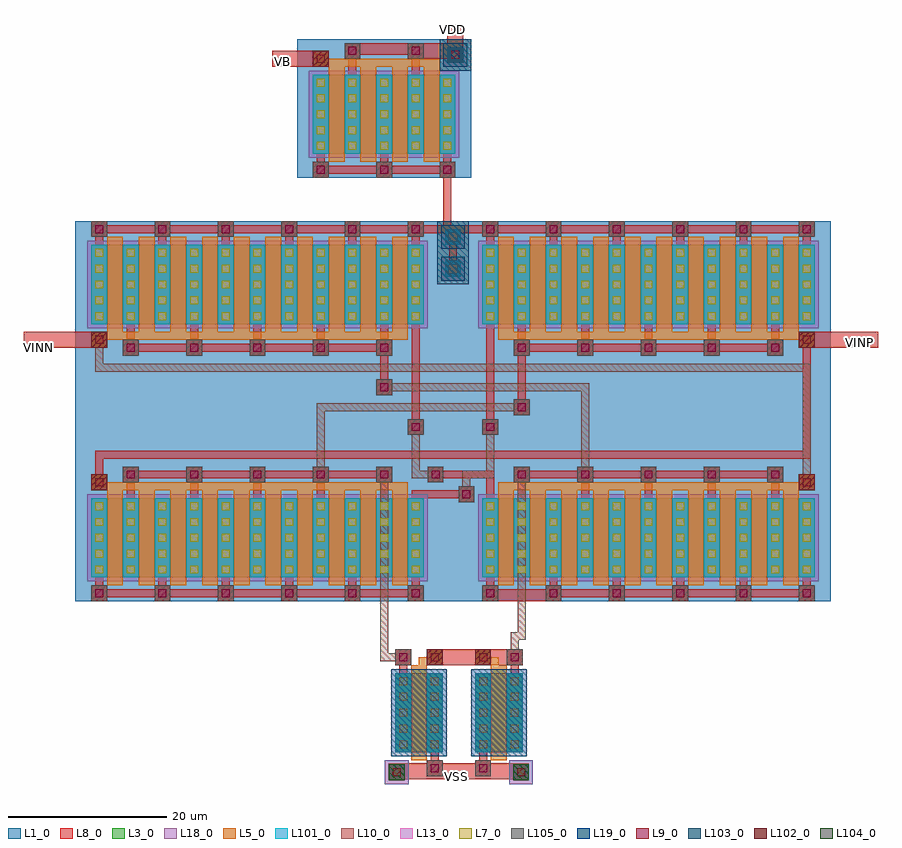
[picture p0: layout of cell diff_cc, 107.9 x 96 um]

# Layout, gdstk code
from math import pi, radians
import gdstk
lib = gdstk.Library(unit=1e-6, precision=1e-07)
def R(c, l, rs):  # rectangles x0, y0, x1, y1
    for r in rs: c.add(gdstk.rectangle(r[:2], r[2:], *l))
L1_0 = (1, 0)
L3_0 = (3, 0)
L5_0 = (5, 0)
L7_0 = (7, 0)
L8_0 = (8, 0)
L9_0 = (9, 0)
L10_0 = (10, 0)
L13_0 = (13, 0)
L18_0 = (18, 0)
L19_0 = (19, 0)
L101_0 = (101, 0)
L102_0 = (102, 0)
L103_0 = (103, 0)
L104_0 = (104, 0)
L105_0 = (105, 0)

dcont = lib.new_cell('dcont')
R(dcont, L3_0, [(-1,-1,1,1)])
R(dcont, L7_0, [(-0.5,-0.5,0.5,0.5)])
R(dcont, L8_0, [(-1,-1,1,1)])
R(dcont, L13_0, [(-0.5,-0.5,0.5,0.5)])
R(dcont, L101_0, [(-1,-1,1,1)])

pcont = lib.new_cell('pcont')
R(pcont, L5_0, [(-1,-1,1,1)])
R(pcont, L7_0, [(-0.5,-0.5,0.5,0.5)])
R(pcont, L8_0, [(-1,-1,1,1)])
R(pcont, L13_0, [(-0.5,-0.5,0.5,0.5)])
R(pcont, L102_0, [(-1,-1,1,1)])

via = lib.new_cell('Via')
R(via, L8_0, [(-1,-1,1,1)])
R(via, L9_0, [(-0.5,-0.5,0.5,0.5)])
R(via, L10_0, [(-1,-1,1,1)])
R(via, L13_0, [(-0.5,-0.5,0.5,0.5)])
R(via, L105_0, [(-1,-1,1,1)])

dcont1 = lib.new_cell('dcont1')
R(dcont1, L3_0, [(-1,-1,1,1)])
R(dcont1, L7_0, [(-0.5,-0.5,0.5,0.5)])
R(dcont1, L8_0, [(-1,-1,1,1)])
R(dcont1, L13_0, [(-0.5,-0.5,0.5,0.5)])
R(dcont1, L101_0, [(-1,-1,1,1)])

nsubcont = lib.new_cell('nsubcont')
R(nsubcont, L1_0, [(-2,-2,2,2)])
R(nsubcont, L19_0, [(-1.5,-1.5,1.5,1.5)])
R(nsubcont, L103_0, [(-2,-2,2,2)])
nsubcont.add(gdstk.Reference(dcont1, (0,0)))

pch_2 = lib.new_cell('Pch$2')
R(pch_2, L1_0, [(-2,-1.5,20,16)])
R(pch_2, L3_0, [(0,3,18,13)])
R(pch_2, L18_0, [(-0.5,2.5,18.5,13.5)])
pch_2.add(gdstk.FlexPath([(1,3),(1,13)], 2, ends="flush", simple_path=True, layer=8, datatype=0))  # L8_0
pch_2.add(gdstk.FlexPath([(5,3),(5,13)], 2, ends="flush", simple_path=True, layer=8, datatype=0))  # L8_0
pch_2.add(gdstk.FlexPath([(9,3),(9,13)], 2, ends="flush", simple_path=True, layer=8, datatype=0))  # L8_0
pch_2.add(gdstk.FlexPath([(13,3),(13,13)], 2, ends="flush", simple_path=True, layer=8, datatype=0))  # L8_0
pch_2.add(gdstk.FlexPath([(17,3),(17,13)], 2, ends="flush", simple_path=True, layer=8, datatype=0))  # L8_0
pch_2.add(gdstk.FlexPath([(1,12),(1,15)], 1, ends="flush", simple_path=True, layer=8, datatype=0))  # L8_0
pch_2.add(gdstk.FlexPath([(5,0),(5,4)], 1, ends="flush", simple_path=True, layer=8, datatype=0))  # L8_0
pch_2.add(gdstk.FlexPath([(9,12),(9,15)], 1, ends="flush", simple_path=True, layer=8, datatype=0))  # L8_0
pch_2.add(gdstk.FlexPath([(1,15),(9,15)], 1, ends="extended", simple_path=True, layer=8, datatype=0))  # L8_0
pch_2.add(gdstk.FlexPath([(13,0),(13,4)], 1, ends="flush", simple_path=True, layer=8, datatype=0))  # L8_0
pch_2.add(gdstk.FlexPath([(5,0),(13,0)], 1, ends="extended", simple_path=True, layer=8, datatype=0))  # L8_0
pch_2.add(gdstk.FlexPath([(17,12),(17,15)], 1, ends="flush", simple_path=True, layer=8, datatype=0))  # L8_0
pch_2.add(gdstk.FlexPath([(9,15),(17,15)], 1, ends="extended", simple_path=True, layer=8, datatype=0))  # L8_0
pch_2.add(gdstk.FlexPath([(3,3),(3,13)], 2, ends="extended", simple_path=True, layer=5, datatype=0))  # L5_0
pch_2.add(gdstk.FlexPath([(7,3),(7,13)], 2, ends="extended", simple_path=True, layer=5, datatype=0))  # L5_0
pch_2.add(gdstk.FlexPath([(11,3),(11,13)], 2, ends="extended", simple_path=True, layer=5, datatype=0))  # L5_0
pch_2.add(gdstk.FlexPath([(15,3),(15,13)], 2, ends="extended", simple_path=True, layer=5, datatype=0))  # L5_0
pch_2.add(gdstk.FlexPath([(1,1.5),(2.5,1.5),(2.5,2)], 1, ends="flush", simple_path=True, layer=5, datatype=0))  # L5_0
pch_2.add(gdstk.FlexPath([(2,1.5),(8,1.5)], 1, ends="flush", simple_path=True, layer=5, datatype=0))  # L5_0
pch_2.add(gdstk.FlexPath([(6,1.5),(12,1.5)], 1, ends="flush", simple_path=True, layer=5, datatype=0))  # L5_0
pch_2.add(gdstk.FlexPath([(10,1.5),(16,1.5)], 1, ends="flush", simple_path=True, layer=5, datatype=0))  # L5_0
pch_2.add(gdstk.Reference(dcont, (1,4)))
pch_2.add(gdstk.Reference(dcont, (1,6)))
pch_2.add(gdstk.Reference(dcont, (1,8)))
pch_2.add(gdstk.Reference(dcont, (1,10)))
pch_2.add(gdstk.Reference(dcont, (1,12)))
pch_2.add(gdstk.Reference(dcont, (5,4)))
pch_2.add(gdstk.Reference(dcont, (5,6)))
pch_2.add(gdstk.Reference(dcont, (5,8)))
pch_2.add(gdstk.Reference(dcont, (5,10)))
pch_2.add(gdstk.Reference(dcont, (5,12)))
pch_2.add(gdstk.Reference(dcont, (9,4)))
pch_2.add(gdstk.Reference(dcont, (9,6)))
pch_2.add(gdstk.Reference(dcont, (9,8)))
pch_2.add(gdstk.Reference(dcont, (9,10)))
pch_2.add(gdstk.Reference(dcont, (9,12)))
pch_2.add(gdstk.Reference(dcont, (13,4)))
pch_2.add(gdstk.Reference(dcont, (13,6)))
pch_2.add(gdstk.Reference(dcont, (13,8)))
pch_2.add(gdstk.Reference(dcont, (13,10)))
pch_2.add(gdstk.Reference(dcont, (13,12)))
pch_2.add(gdstk.Reference(dcont, (17,4)))
pch_2.add(gdstk.Reference(dcont, (17,6)))
pch_2.add(gdstk.Reference(dcont, (17,8)))
pch_2.add(gdstk.Reference(dcont, (17,10)))
pch_2.add(gdstk.Reference(dcont, (17,12)))
pch_2.add(gdstk.Reference(pcont, (1,1)))
pch_2.add(gdstk.Reference(via, (1,1)))
pch_2.add(gdstk.Reference(via, (1,15)))
pch_2.add(gdstk.Reference(via, (5,0)))
pch_2.add(gdstk.Reference(via, (9,15)))
pch_2.add(gdstk.Reference(via, (13,0)))
pch_2.add(gdstk.Reference(via, (17,15)))
pch_2.add(gdstk.Reference(nsubcont, (18,0.5)))
pch_2.add(gdstk.Reference(via, (18,0.5)))

pch_3 = lib.new_cell('Pch$3')
R(pch_3, L1_0, [(-2,-1.5,44,16)])
R(pch_3, L3_0, [(0,3,42,13)])
R(pch_3, L18_0, [(-0.5,2.5,42.5,13.5)])
pch_3.add(gdstk.FlexPath([(1,3),(1,13)], 2, ends="flush", simple_path=True, layer=8, datatype=0))  # L8_0
pch_3.add(gdstk.FlexPath([(5,3),(5,13)], 2, ends="flush", simple_path=True, layer=8, datatype=0))  # L8_0
pch_3.add(gdstk.FlexPath([(9,3),(9,13)], 2, ends="flush", simple_path=True, layer=8, datatype=0))  # L8_0
pch_3.add(gdstk.FlexPath([(13,3),(13,13)], 2, ends="flush", simple_path=True, layer=8, datatype=0))  # L8_0
pch_3.add(gdstk.FlexPath([(17,3),(17,13)], 2, ends="flush", simple_path=True, layer=8, datatype=0))  # L8_0
pch_3.add(gdstk.FlexPath([(21,3),(21,13)], 2, ends="flush", simple_path=True, layer=8, datatype=0))  # L8_0
pch_3.add(gdstk.FlexPath([(25,3),(25,13)], 2, ends="flush", simple_path=True, layer=8, datatype=0))  # L8_0
pch_3.add(gdstk.FlexPath([(29,3),(29,13)], 2, ends="flush", simple_path=True, layer=8, datatype=0))  # L8_0
pch_3.add(gdstk.FlexPath([(33,3),(33,13)], 2, ends="flush", simple_path=True, layer=8, datatype=0))  # L8_0
pch_3.add(gdstk.FlexPath([(37,3),(37,13)], 2, ends="flush", simple_path=True, layer=8, datatype=0))  # L8_0
pch_3.add(gdstk.FlexPath([(41,3),(41,13)], 2, ends="flush", simple_path=True, layer=8, datatype=0))  # L8_0
pch_3.add(gdstk.FlexPath([(1,12),(1,15)], 1, ends="flush", simple_path=True, layer=8, datatype=0))  # L8_0
pch_3.add(gdstk.FlexPath([(5,0),(5,4)], 1, ends="flush", simple_path=True, layer=8, datatype=0))  # L8_0
pch_3.add(gdstk.FlexPath([(9,12),(9,15)], 1, ends="flush", simple_path=True, layer=8, datatype=0))  # L8_0
pch_3.add(gdstk.FlexPath([(1,15),(9,15)], 1, ends="extended", simple_path=True, layer=8, datatype=0))  # L8_0
pch_3.add(gdstk.FlexPath([(13,0),(13,4)], 1, ends="flush", simple_path=True, layer=8, datatype=0))  # L8_0
pch_3.add(gdstk.FlexPath([(5,0),(13,0)], 1, ends="extended", simple_path=True, layer=8, datatype=0))  # L8_0
pch_3.add(gdstk.FlexPath([(17,12),(17,15)], 1, ends="flush", simple_path=True, layer=8, datatype=0))  # L8_0
pch_3.add(gdstk.FlexPath([(9,15),(17,15)], 1, ends="extended", simple_path=True, layer=8, datatype=0))  # L8_0
pch_3.add(gdstk.FlexPath([(21,0),(21,4)], 1, ends="flush", simple_path=True, layer=8, datatype=0))  # L8_0
pch_3.add(gdstk.FlexPath([(13,0),(21,0)], 1, ends="extended", simple_path=True, layer=8, datatype=0))  # L8_0
pch_3.add(gdstk.FlexPath([(25,12),(25,15)], 1, ends="flush", simple_path=True, layer=8, datatype=0))  # L8_0
pch_3.add(gdstk.FlexPath([(17,15),(25,15)], 1, ends="extended", simple_path=True, layer=8, datatype=0))  # L8_0
pch_3.add(gdstk.FlexPath([(29,0),(29,4)], 1, ends="flush", simple_path=True, layer=8, datatype=0))  # L8_0
pch_3.add(gdstk.FlexPath([(21,0),(29,0)], 1, ends="extended", simple_path=True, layer=8, datatype=0))  # L8_0
pch_3.add(gdstk.FlexPath([(33,12),(33,15)], 1, ends="flush", simple_path=True, layer=8, datatype=0))  # L8_0
pch_3.add(gdstk.FlexPath([(25,15),(33,15)], 1, ends="extended", simple_path=True, layer=8, datatype=0))  # L8_0
pch_3.add(gdstk.FlexPath([(37,0),(37,4)], 1, ends="flush", simple_path=True, layer=8, datatype=0))  # L8_0
pch_3.add(gdstk.FlexPath([(29,0),(37,0)], 1, ends="extended", simple_path=True, layer=8, datatype=0))  # L8_0
pch_3.add(gdstk.FlexPath([(41,12),(41,15)], 1, ends="flush", simple_path=True, layer=8, datatype=0))  # L8_0
pch_3.add(gdstk.FlexPath([(33,15),(41,15)], 1, ends="extended", simple_path=True, layer=8, datatype=0))  # L8_0
pch_3.add(gdstk.FlexPath([(3,3),(3,13)], 2, ends="extended", simple_path=True, layer=5, datatype=0))  # L5_0
pch_3.add(gdstk.FlexPath([(7,3),(7,13)], 2, ends="extended", simple_path=True, layer=5, datatype=0))  # L5_0
pch_3.add(gdstk.FlexPath([(11,3),(11,13)], 2, ends="extended", simple_path=True, layer=5, datatype=0))  # L5_0
pch_3.add(gdstk.FlexPath([(15,3),(15,13)], 2, ends="extended", simple_path=True, layer=5, datatype=0))  # L5_0
pch_3.add(gdstk.FlexPath([(19,3),(19,13)], 2, ends="extended", simple_path=True, layer=5, datatype=0))  # L5_0
pch_3.add(gdstk.FlexPath([(23,3),(23,13)], 2, ends="extended", simple_path=True, layer=5, datatype=0))  # L5_0
pch_3.add(gdstk.FlexPath([(27,3),(27,13)], 2, ends="extended", simple_path=True, layer=5, datatype=0))  # L5_0
pch_3.add(gdstk.FlexPath([(31,3),(31,13)], 2, ends="extended", simple_path=True, layer=5, datatype=0))  # L5_0
pch_3.add(gdstk.FlexPath([(35,3),(35,13)], 2, ends="extended", simple_path=True, layer=5, datatype=0))  # L5_0
pch_3.add(gdstk.FlexPath([(39,3),(39,13)], 2, ends="extended", simple_path=True, layer=5, datatype=0))  # L5_0
pch_3.add(gdstk.FlexPath([(1,1.5),(2.5,1.5),(2.5,2)], 1, ends="flush", simple_path=True, layer=5, datatype=0))  # L5_0
pch_3.add(gdstk.FlexPath([(2,1.5),(8,1.5)], 1, ends="flush", simple_path=True, layer=5, datatype=0))  # L5_0
pch_3.add(gdstk.FlexPath([(6,1.5),(12,1.5)], 1, ends="flush", simple_path=True, layer=5, datatype=0))  # L5_0
pch_3.add(gdstk.FlexPath([(10,1.5),(16,1.5)], 1, ends="flush", simple_path=True, layer=5, datatype=0))  # L5_0
pch_3.add(gdstk.FlexPath([(14,1.5),(20,1.5)], 1, ends="flush", simple_path=True, layer=5, datatype=0))  # L5_0
pch_3.add(gdstk.FlexPath([(18,1.5),(24,1.5)], 1, ends="flush", simple_path=True, layer=5, datatype=0))  # L5_0
pch_3.add(gdstk.FlexPath([(22,1.5),(28,1.5)], 1, ends="flush", simple_path=True, layer=5, datatype=0))  # L5_0
pch_3.add(gdstk.FlexPath([(26,1.5),(32,1.5)], 1, ends="flush", simple_path=True, layer=5, datatype=0))  # L5_0
pch_3.add(gdstk.FlexPath([(30,1.5),(36,1.5)], 1, ends="flush", simple_path=True, layer=5, datatype=0))  # L5_0
pch_3.add(gdstk.FlexPath([(34,1.5),(40,1.5)], 1, ends="flush", simple_path=True, layer=5, datatype=0))  # L5_0
pch_3.add(gdstk.Reference(dcont, (1,4)))
pch_3.add(gdstk.Reference(dcont, (1,6)))
pch_3.add(gdstk.Reference(dcont, (1,8)))
pch_3.add(gdstk.Reference(dcont, (1,10)))
pch_3.add(gdstk.Reference(dcont, (1,12)))
pch_3.add(gdstk.Reference(dcont, (5,4)))
pch_3.add(gdstk.Reference(dcont, (5,6)))
pch_3.add(gdstk.Reference(dcont, (5,8)))
pch_3.add(gdstk.Reference(dcont, (5,10)))
pch_3.add(gdstk.Reference(dcont, (5,12)))
pch_3.add(gdstk.Reference(dcont, (9,4)))
pch_3.add(gdstk.Reference(dcont, (9,6)))
pch_3.add(gdstk.Reference(dcont, (9,8)))
pch_3.add(gdstk.Reference(dcont, (9,10)))
pch_3.add(gdstk.Reference(dcont, (9,12)))
pch_3.add(gdstk.Reference(dcont, (13,4)))
pch_3.add(gdstk.Reference(dcont, (13,6)))
pch_3.add(gdstk.Reference(dcont, (13,8)))
pch_3.add(gdstk.Reference(dcont, (13,10)))
pch_3.add(gdstk.Reference(dcont, (13,12)))
pch_3.add(gdstk.Reference(dcont, (17,4)))
pch_3.add(gdstk.Reference(dcont, (17,6)))
pch_3.add(gdstk.Reference(dcont, (17,8)))
pch_3.add(gdstk.Reference(dcont, (17,10)))
pch_3.add(gdstk.Reference(dcont, (17,12)))
pch_3.add(gdstk.Reference(dcont, (21,4)))
pch_3.add(gdstk.Reference(dcont, (21,6)))
pch_3.add(gdstk.Reference(dcont, (21,8)))
pch_3.add(gdstk.Reference(dcont, (21,10)))
pch_3.add(gdstk.Reference(dcont, (21,12)))
pch_3.add(gdstk.Reference(dcont, (25,4)))
pch_3.add(gdstk.Reference(dcont, (25,6)))
pch_3.add(gdstk.Reference(dcont, (25,8)))
pch_3.add(gdstk.Reference(dcont, (25,10)))
pch_3.add(gdstk.Reference(dcont, (25,12)))
pch_3.add(gdstk.Reference(dcont, (29,4)))
pch_3.add(gdstk.Reference(dcont, (29,6)))
pch_3.add(gdstk.Reference(dcont, (29,8)))
pch_3.add(gdstk.Reference(dcont, (29,10)))
pch_3.add(gdstk.Reference(dcont, (29,12)))
pch_3.add(gdstk.Reference(dcont, (33,4)))
pch_3.add(gdstk.Reference(dcont, (33,6)))
pch_3.add(gdstk.Reference(dcont, (33,8)))
pch_3.add(gdstk.Reference(dcont, (33,10)))
pch_3.add(gdstk.Reference(dcont, (33,12)))
pch_3.add(gdstk.Reference(dcont, (37,4)))
pch_3.add(gdstk.Reference(dcont, (37,6)))
pch_3.add(gdstk.Reference(dcont, (37,8)))
pch_3.add(gdstk.Reference(dcont, (37,10)))
pch_3.add(gdstk.Reference(dcont, (37,12)))
pch_3.add(gdstk.Reference(dcont, (41,4)))
pch_3.add(gdstk.Reference(dcont, (41,6)))
pch_3.add(gdstk.Reference(dcont, (41,8)))
pch_3.add(gdstk.Reference(dcont, (41,10)))
pch_3.add(gdstk.Reference(dcont, (41,12)))
pch_3.add(gdstk.Reference(pcont, (1,1)))
pch_3.add(gdstk.Reference(via, (1,1)))
pch_3.add(gdstk.Reference(via, (1,15)))
pch_3.add(gdstk.Reference(via, (5,0)))
pch_3.add(gdstk.Reference(via, (9,15)))
pch_3.add(gdstk.Reference(via, (13,0)))
pch_3.add(gdstk.Reference(via, (17,15)))
pch_3.add(gdstk.Reference(via, (21,0)))
pch_3.add(gdstk.Reference(via, (25,15)))
pch_3.add(gdstk.Reference(via, (29,0)))
pch_3.add(gdstk.Reference(via, (33,15)))
pch_3.add(gdstk.Reference(via, (37,0)))
pch_3.add(gdstk.Reference(via, (41,15)))

psubcont = lib.new_cell('psubcont')
R(psubcont, L18_0, [(-1.5,-1.5,1.5,1.5)])
R(psubcont, L104_0, [(-1,-1,1,1)])
psubcont.add(gdstk.Reference(dcont1, (0,0)))

nch = lib.new_cell('Nch')
R(nch, L3_0, [(0,3,6,13)])
R(nch, L19_0, [(-0.5,2.5,6.5,13.5)])
nch.add(gdstk.FlexPath([(1,3),(1,13)], 2, ends="flush", simple_path=True, layer=8, datatype=0))  # L8_0
nch.add(gdstk.FlexPath([(5,3),(5,13)], 2, ends="flush", simple_path=True, layer=8, datatype=0))  # L8_0
nch.add(gdstk.FlexPath([(1,1),(1,4)], 1, ends="flush", simple_path=True, layer=8, datatype=0))  # L8_0
nch.add(gdstk.FlexPath([(5,12),(5,15)], 1, ends="flush", simple_path=True, layer=8, datatype=0))  # L8_0
nch.add(gdstk.FlexPath([(3,3),(3,13)], 2, ends="extended", simple_path=True, layer=5, datatype=0))  # L5_0
nch.add(gdstk.FlexPath([(1,14.5),(2.5,14.5),(2.5,14)], 1, ends="flush", simple_path=True, layer=5, datatype=0))  # L5_0
nch.add(gdstk.Reference(dcont, (1,4)))
nch.add(gdstk.Reference(dcont, (1,6)))
nch.add(gdstk.Reference(dcont, (1,8)))
nch.add(gdstk.Reference(dcont, (1,10)))
nch.add(gdstk.Reference(dcont, (1,12)))
nch.add(gdstk.Reference(dcont, (5,4)))
nch.add(gdstk.Reference(dcont, (5,6)))
nch.add(gdstk.Reference(dcont, (5,8)))
nch.add(gdstk.Reference(dcont, (5,10)))
nch.add(gdstk.Reference(dcont, (5,12)))
nch.add(gdstk.Reference(pcont, (1,15)))
nch.add(gdstk.Reference(via, (1,15)))
nch.add(gdstk.Reference(via, (1,1)))
nch.add(gdstk.Reference(via, (5,15)))
nch.add(gdstk.Reference(psubcont, (5.8,0.5)))
nch.add(gdstk.Reference(via, (5.8,0.5)))

via_1 = lib.new_cell('Via$1')
R(via_1, L8_0, [(-1,-1,1,1)])
R(via_1, L9_0, [(-0.5,-0.5,0.5,0.5)])
R(via_1, L10_0, [(-1,-1,1,1)])
R(via_1, L13_0, [(-0.5,-0.5,0.5,0.5)])
R(via_1, L105_0, [(-1,-1,1,1)])

via_2 = lib.new_cell('Via$2')
R(via_2, L8_0, [(-1,-1,1,1)])
R(via_2, L9_0, [(-0.5,-0.5,0.5,0.5)])
R(via_2, L10_0, [(-1,-1,1,1)])
R(via_2, L13_0, [(-0.5,-0.5,0.5,0.5)])
R(via_2, L105_0, [(-1,-1,1,1)])

dcont1_1 = lib.new_cell('dcont1$1')
R(dcont1_1, L3_0, [(-1,-1,1,1)])
R(dcont1_1, L7_0, [(-0.5,-0.5,0.5,0.5)])
R(dcont1_1, L8_0, [(-1,-1,1,1)])
R(dcont1_1, L13_0, [(-0.5,-0.5,0.5,0.5)])
R(dcont1_1, L101_0, [(-1,-1,1,1)])

nsubcont_1 = lib.new_cell('nsubcont$1')
R(nsubcont_1, L1_0, [(-2,-2,2,2)])
R(nsubcont_1, L19_0, [(-1.5,-1.5,1.5,1.5)])
R(nsubcont_1, L103_0, [(-2,-2,2,2)])
nsubcont_1.add(gdstk.Reference(dcont1_1, (0,0)))

diff_cc = lib.new_cell('diff_cc')
R(diff_cc, L1_0, [(163,16,258.4,64)])
R(diff_cc, L8_0, [(207.4,7.9,215.5,9.9), (214.3,7.9,218.3,9.9), (215.5,16,223.5,17.5), (199,86,205,86.5), (210,86,212,86.5)])
diff_cc.add(gdstk.FlexPath([(255.4,49.5),(255.4,34.5),(166,34.5),(166,30.5)], 1, ends="flush", simple_path=True, layer=8, datatype=0))  # L8_0
diff_cc.add(gdstk.FlexPath([(202,48.5),(202,43)], 1, ends="flush", simple_path=True, layer=8, datatype=0))  # L8_0
diff_cc.add(gdstk.FlexPath([(219.4,40),(219.4,48.5)], 1, ends="flush", simple_path=True, layer=8, datatype=0))  # L8_0
diff_cc.add(gdstk.FlexPath([(206,52.5),(206,37.3)], 1, ends="flush", simple_path=True, layer=8, datatype=0))  # L8_0
diff_cc.add(gdstk.FlexPath([(215.4,52.1),(215.4,37.6)], 1, ends="flush", simple_path=True, layer=8, datatype=0))  # L8_0
diff_cc.add(gdstk.FlexPath([(208.3,32),(215.4,32),(215.4,27.5)], 1, ends="flush", simple_path=True, layer=8, datatype=0))  # L8_0
diff_cc.add(gdstk.FlexPath([(212.5,29.5),(206,29.5),(206,27.4)], 1, ends="flush", simple_path=True, layer=8, datatype=0))  # L8_0
diff_cc.add(gdstk.FlexPath([(167,49),(156.5,49)], 2, ends="flush", simple_path=True, layer=8, datatype=0))  # L8_0
diff_cc.add(gdstk.FlexPath([(254.4,49),(264.4,49)], 2, ends="flush", simple_path=True, layer=8, datatype=0))  # L8_0
diff_cc.add(gdstk.FlexPath([(220.3,-5.5),(202.6,-5.5)], 2, ends="flush", simple_path=True, layer=8, datatype=0))  # L8_0
diff_cc.add(gdstk.FlexPath([(205,63),(215.9,63)], 1, ends="flush", simple_path=True, layer=8, datatype=0))  # L8_0
diff_cc.add(gdstk.FlexPath([(210.7,63),(210.7,57.5)], 1, ends="flush", simple_path=True, layer=8, datatype=0))  # L8_0
diff_cc.add(gdstk.FlexPath([(210,71),(210,62.6)], 1, ends="flush", simple_path=True, layer=8, datatype=0))  # L8_0
diff_cc.add(gdstk.FlexPath([(206,85.5),(211,85.5),(211,88.9)], 2, ends="flush", simple_path=True, layer=8, datatype=0))  # L8_0
diff_cc.add(gdstk.FlexPath([(195,84.5),(187.9,84.5)], 2, ends="flush", simple_path=True, layer=8, datatype=0))  # L8_0
diff_cc.add(gdstk.FlexPath([(166,49.5),(166,45.5),(255.4,45.5),(255.4,30.5)], 1, ends="flush", simple_path=True, layer=10, datatype=0))  # L10_0
diff_cc.add(gdstk.FlexPath([(202,43),(227.4,43),(227.4,31.5)], 1, ends="flush", simple_path=True, layer=10, datatype=0))  # L10_0
diff_cc.add(gdstk.FlexPath([(219.9,40.5),(194,40.5),(194,31.5)], 1, ends="flush", simple_path=True, layer=10, datatype=0))  # L10_0
diff_cc.add(gdstk.FlexPath([(206,38),(206,32),(209,32)], 1, ends="flush", simple_path=True, layer=10, datatype=0))  # L10_0
diff_cc.add(gdstk.FlexPath([(215.4,37.9),(215.4,32),(212.4,32),(212.4,29)], 1, ends="flush", simple_path=True, layer=10, datatype=0))  # L10_0
diff_cc.add(gdstk.FlexPath([(202,32),(202,8.9),(204.9,8.9)], 1, ends="flush", simple_path=True, layer=10, datatype=0))  # L10_0
diff_cc.add(gdstk.FlexPath([(219.4,32),(219.4,11.6),(218.5,11.6),(218.5,8.4)], 1, ends="flush", simple_path=True, layer=10, datatype=0))  # L10_0
diff_cc.add(gdstk.Reference(pch_2, (193,85.5), x_reflection=True))
diff_cc.add(gdstk.Reference(pch_3, (165,48)))
diff_cc.add(gdstk.Reference(pch_3, (256.4,48), rotation=pi, x_reflection=True))
diff_cc.add(gdstk.Reference(nch, (213.5,-6.1)))
diff_cc.add(gdstk.Reference(nch, (209.4,-6.1), rotation=pi, x_reflection=True))
diff_cc.add(gdstk.Reference(pch_3, (165,32), x_reflection=True))
diff_cc.add(gdstk.Reference(pch_3, (256.4,32), rotation=pi))
diff_cc.add(gdstk.Reference(via_1, (219.4,40.5)))
diff_cc.add(gdstk.Reference(via_1, (202,43)))
diff_cc.add(gdstk.Reference(via_2, (206,38)))
diff_cc.add(gdstk.Reference(via_2, (208.5,32)))
diff_cc.add(gdstk.Reference(via_2, (215.4,38)))
diff_cc.add(gdstk.Reference(via_2, (212.4,29.5)))
diff_cc.add(gdstk.Reference(nsubcont_1, (210.7,62)))
diff_cc.add(gdstk.Reference(nsubcont_1, (210.7,58)))
diff_cc.add(gdstk.Label('VINP', (262.1,48.7), layer=8, texttype=0))
diff_cc.add(gdstk.Label('VSS', (211.1,-6.1), layer=8, texttype=0))
diff_cc.add(gdstk.Label('VINN', (158.3,48.1), layer=8, texttype=0))
diff_cc.add(gdstk.Label('VB', (189.2,84.2), layer=8, texttype=0))
diff_cc.add(gdstk.Label('VDD', (210.7,88.2), layer=8, texttype=0))

lib.write_gds('diff_cc.gds')
